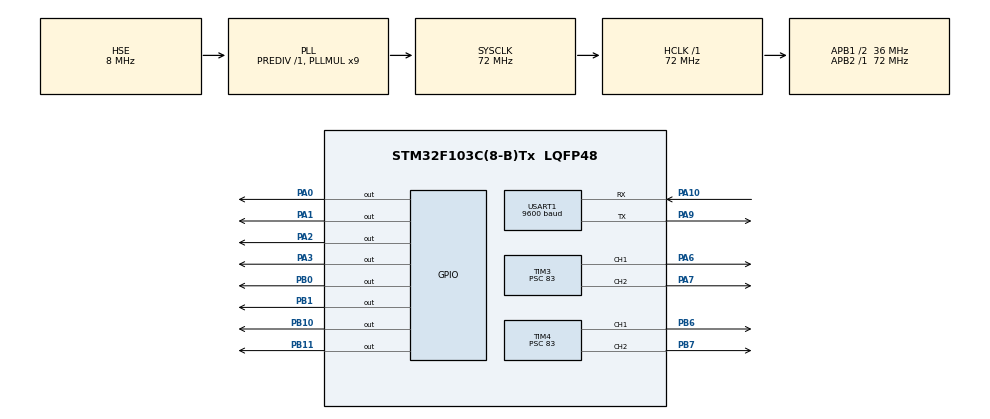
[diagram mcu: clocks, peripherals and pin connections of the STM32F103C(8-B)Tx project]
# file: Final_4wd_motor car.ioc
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Mcu.Family=STM32F1
Mcu.Name=STM32F103C(8-B)Tx
Mcu.Package=LQFP48
NVIC.PriorityGroup=NVIC_PRIORITYGROUP_4
NVIC.USART1_IRQn=true\:0\:0\:false\:false\:true\:true\:true\:true
PA0-WKUP.Signal=GPIO_Output
PA1.Signal=GPIO_Output
PA10.Mode=Asynchronous
PA10.Signal=USART1_RX
PA13.Mode=Serial_Wire
PA13.Signal=SYS_JTMS-SWDIO
PA14.Mode=Serial_Wire
PA14.Signal=SYS_JTCK-SWCLK
PA2.Signal=GPIO_Output
PA3.Signal=GPIO_Output
PA6.Signal=S_TIM3_CH1
PA7.Signal=S_TIM3_CH2
PA9.Mode=Asynchronous
PA9.Signal=USART1_TX
PB0.Signal=GPIO_Output
PB1.Signal=GPIO_Output
PB10.Signal=GPIO_Output
PB11.Signal=GPIO_Output
PB6.Signal=S_TIM4_CH1
PB7.Signal=S_TIM4_CH2
PD0-OSC_IN.Mode=HSE-External-Oscillator
PD0-OSC_IN.Signal=RCC_OSC_IN
PD1-OSC_OUT.Mode=HSE-External-Oscillator
PD1-OSC_OUT.Signal=RCC_OSC_OUT
ProjectManager.HeapSize=0x200
ProjectManager.StackSize=0x400
ProjectManager.TargetToolchain=STM32CubeIDE
RCC.AHBFreq_Value=72000000
RCC.APB1CLKDivider=RCC_HCLK_DIV2
RCC.APB1Freq_Value=36000000
RCC.APB1TimFreq_Value=72000000
RCC.APB2Freq_Value=72000000
RCC.APB2TimFreq_Value=72000000
RCC.HCLKFreq_Value=72000000
RCC.PLLMUL=RCC_PLL_MUL9
RCC.PLLSourceVirtual=RCC_PLLSOURCE_HSE
RCC.SYSCLKFreq_VALUE=72000000
RCC.SYSCLKSource=RCC_SYSCLKSOURCE_PLLCLK
RCC.USBFreq_Value=72000000
SH.S_TIM3_CH1.0=TIM3_CH1,PWM Generation1 CH1
SH.S_TIM3_CH2.0=TIM3_CH2,PWM Generation2 CH2
SH.S_TIM4_CH1.0=TIM4_CH1,PWM Generation1 CH1
SH.S_TIM4_CH2.0=TIM4_CH2,PWM Generation2 CH2
TIM3.AutoReloadPreload=TIM_AUTORELOAD_PRELOAD_ENABLE
TIM3.Channel-PWM\ Generation1\ CH1=TIM_CHANNEL_1
TIM3.Channel-PWM\ Generation2\ CH2=TIM_CHANNEL_2
TIM3.Period=999
TIM3.Prescaler=83
TIM3.Pulse-PWM\ Generation1\ CH1=600
TIM3.Pulse-PWM\ Generation2\ CH2=600
TIM4.AutoReloadPreload=TIM_AUTORELOAD_PRELOAD_ENABLE
TIM4.Channel-PWM\ Generation1\ CH1=TIM_CHANNEL_1
TIM4.Channel-PWM\ Generation2\ CH2=TIM_CHANNEL_2
TIM4.Period=999
TIM4.Prescaler=83
TIM4.Pulse-PWM\ Generation1\ CH1=600
TIM4.Pulse-PWM\ Generation2\ CH2=600
USART1.BaudRate=9600
USART1.VirtualMode=VM_ASYNC
board=custom

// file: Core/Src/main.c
/* USER CODE BEGIN Header */
/**
  ******************************************************************************
  * @file           : main.c
  * @brief          : Main program body
  ******************************************************************************
  * @attention
  *
  * Copyright (c) 2025 STMicroelectronics.
  * All rights reserved.
  *
  * This software is licensed under terms that can be found in the LICENSE file
  * in the root directory of this software component.
  * If no LICENSE file comes with this software, it is provided AS-IS.
  *
  ******************************************************************************
  */

/* USER CODE END Header */
#include "main.h"

/* USER CODE BEGIN PTD */
typedef enum {
    MOTOR_STOPPED,
    MOTOR_FORWARD,
    MOTOR_BACKWARD,
    MOTOR_TURNING_LEFT,
    MOTOR_TURNING_RIGHT
} MotorState_t;

/* USER CODE END PTD */

TIM_HandleTypeDef htim3;
TIM_HandleTypeDef htim4;

UART_HandleTypeDef huart1;

/* USER CODE BEGIN PV */
// Declare this at the top of main.c
uint8_t received_char;
uint16_t pwm_value = 600; // 60% duty cycle
MotorState_t current_motor_state = MOTOR_STOPPED;
/* USER CODE END PV */
typedef struct {
    GPIO_TypeDef* port;
    uint16_t in1_pin;
    uint16_t in2_pin;
} MotorConfig_t;

const MotorConfig_t motor_config[4] = {
    {GPIOA, GPIO_PIN_0, GPIO_PIN_1},   // M1 - Left
    {GPIOA, GPIO_PIN_2, GPIO_PIN_3},   // M2 - Left
    {GPIOB, GPIO_PIN_0, GPIO_PIN_1},   // M3 - Right
    {GPIOB, GPIO_PIN_10, GPIO_PIN_11}  // M4 - Right
};
void SystemClock_Config(void);
static void MX_GPIO_Init(void);
static void MX_TIM3_Init(void);
static void MX_TIM4_Init(void);
static void MX_USART1_UART_Init(void);

/* USER CODE BEGIN 0 */
void Set_Motor_Speeds(uint16_t m1, uint16_t m2, uint16_t m3, uint16_t m4) {
    __HAL_TIM_SET_COMPARE(&htim3, TIM_CHANNEL_1, m1); // Motor 1
    __HAL_TIM_SET_COMPARE(&htim3, TIM_CHANNEL_2, m2); // Motor 2
    __HAL_TIM_SET_COMPARE(&htim4, TIM_CHANNEL_1, m3); // Motor 3
    __HAL_TIM_SET_COMPARE(&htim4, TIM_CHANNEL_2, m4); // Motor 4
}
void Set_Motor_Direction(uint8_t motor_index, uint8_t forward) {
    if (motor_index >= 4) return;

    if (forward) {
        HAL_GPIO_WritePin(motor_config[motor_index].port, motor_config[motor_index].in1_pin, GPIO_PIN_SET);
        HAL_GPIO_WritePin(motor_config[motor_index].port, motor_config[motor_index].in2_pin, GPIO_PIN_RESET);
    } else {
        HAL_GPIO_WritePin(motor_config[motor_index].port, motor_config[motor_index].in1_pin, GPIO_PIN_RESET);
        HAL_GPIO_WritePin(motor_config[motor_index].port, motor_config[motor_index].in2_pin, GPIO_PIN_SET);
    }
}
void Stop_Motor(uint8_t motor_index) {
    if (motor_index >= 4) return;

    HAL_GPIO_WritePin(motor_config[motor_index].port, motor_config[motor_index].in1_pin, GPIO_PIN_RESET);
    HAL_GPIO_WritePin(motor_config[motor_index].port, motor_config[motor_index].in2_pin, GPIO_PIN_RESET);
}

void Stop_Motors() {
    Set_Motor_Speeds(0, 0, 0, 0); // Set all PWM to 0

    // Stop all motors using helper function
    for (int i = 0; i < 4; i++) {
        Stop_Motor(i);
    }

    current_motor_state = MOTOR_STOPPED;
}

void Move_Forward() {
    // Stop motors first if changing from backward
    if (current_motor_state == MOTOR_BACKWARD) {
        Stop_Motors();
        HAL_Delay(100); // Small delay to let motors stop completely
    }

    Set_Motor_Speeds(600, 600, 600, 600);

    // Set all motors forward
    for (int i = 0; i < 4; i++) {
        Set_Motor_Direction(i, 1); // 1 = forward
    }

    current_motor_state = MOTOR_FORWARD;
}

void Move_Backward() {
    // Stop motors first if changing from forward
    if (current_motor_state == MOTOR_FORWARD) {
        Stop_Motors();
        HAL_Delay(100); // Small delay to let motors stop completely
    }

    Set_Motor_Speeds(600, 600, 600, 600);

    // Set all motors backward
    for (int i = 0; i < 4; i++) {
        Set_Motor_Direction(i, 0); // 0 = backward
    }

    current_motor_state = MOTOR_BACKWARD;
}
void Turn_Left() {
    switch (current_motor_state) {
        case MOTOR_FORWARD:
        case MOTOR_TURNING_RIGHT:
            // Forward left turn - stop left motors, right motors continue forward
            Set_Motor_Speeds(0, 0, 700, 700); // Left motors stop, right motors fast
            Stop_Motor(0); // M1 off
            Stop_Motor(1); // M2 off
            Set_Motor_Direction(2, 1); // M3 forward
            Set_Motor_Direction(3, 1); // M4 forward
            break;

        case MOTOR_BACKWARD:
            // Backward left turn - stop left motors, right motors continue backward
            Set_Motor_Speeds(0, 0, 700, 700); // Left motors stop, right motors fast
            Stop_Motor(0); // M1 off
            Stop_Motor(1); // M2 off
            Set_Motor_Direction(2, 0); // M3 backward
            Set_Motor_Direction(3, 0); // M4 backward
            break;

        case MOTOR_TURNING_LEFT:
            // Already turning left, maintain current behavior
            return;

        default: // MOTOR_STOPPED
            // Stationary left turn - left motors backward, right motors forward
            Set_Motor_Speeds(600, 600, 600, 600);
            Set_Motor_Direction(0, 0); // M1 backward
            Set_Motor_Direction(1, 0); // M2 backward
            Set_Motor_Direction(2, 1); // M3 forward
            Set_Motor_Direction(3, 1); // M4 forward
            break;
    }

    current_motor_state = MOTOR_TURNING_LEFT;
}

void Turn_Right() {
    switch (current_motor_state) {
        case MOTOR_FORWARD:
        case MOTOR_TURNING_LEFT:
            // Forward right turn - stop right motors, left motors continue forward
            Set_Motor_Speeds(700, 700, 0, 0); // Left motors fast, right motors stop
            Set_Motor_Direction(0, 1); // M1 forward
            Set_Motor_Direction(1, 1); // M2 forward
            Stop_Motor(2); // M3 off
            Stop_Motor(3); // M4 off
            break;

        case MOTOR_BACKWARD:
            // Backward right turn - stop right motors, left motors continue backward
            Set_Motor_Speeds(700, 700, 0, 0); // Left motors fast, right motors stop
            Set_Motor_Direction(0, 0); // M1 backward
            Set_Motor_Direction(1, 0); // M2 backward
            Stop_Motor(2); // M3 off
            Stop_Motor(3); // M4 off
            break;

        case MOTOR_TURNING_RIGHT:
            // Already turning right, maintain current behavior
            return;

        default: // MOTOR_STOPPED
            // Stationary right turn - right motors backward, left motors forward
            Set_Motor_Speeds(600, 600, 600, 600);
            Set_Motor_Direction(0, 1); // M1 forward
            Set_Motor_Direction(1, 1); // M2 forward
            Set_Motor_Direction(2, 0); // M3 backward
            Set_Motor_Direction(3, 0); // M4 backward
            break;
    }

    current_motor_state = MOTOR_TURNING_RIGHT;
}
// You can define Move_Backward(), Turn_Left(), Turn_Right() in similar way

/* USER CODE END 0 */

int main(void) {
  HAL_Init();
  SystemClock_Config();
  MX_GPIO_Init();
  MX_USART1_UART_Init();
  MX_TIM3_Init();
  MX_TIM4_Init();

  // Start PWM channels
  HAL_TIM_PWM_Start(&htim3, TIM_CHANNEL_1);
  HAL_TIM_PWM_Start(&htim3, TIM_CHANNEL_2);
  HAL_TIM_PWM_Start(&htim4, TIM_CHANNEL_1);
  HAL_TIM_PWM_Start(&htim4, TIM_CHANNEL_2);

 // Start UART receive interrupt
  // In main(), after starting PWM timers:
  Stop_Motors();  // Initialize all motors to stopped state
  HAL_UART_Receive_IT(&huart1, &received_char, 1);  // Start UART interrupt

  while (1) {
    // Main loop does nothing; all control via UART interrupt
  }
}

void SystemClock_Config(void)
{
  RCC_OscInitTypeDef RCC_OscInitStruct = {0};
  RCC_ClkInitTypeDef RCC_ClkInitStruct = {0};

  /** Initializes the RCC Oscillators according to the specified parameters
  * in the RCC_OscInitTypeDef structure.
  */
  RCC_OscInitStruct.OscillatorType = RCC_OSCILLATORTYPE_HSE;
  RCC_OscInitStruct.HSEState = RCC_HSE_ON;
  RCC_OscInitStruct.HSEPredivValue = RCC_HSE_PREDIV_DIV1;
  RCC_OscInitStruct.HSIState = RCC_HSI_ON;
  RCC_OscInitStruct.PLL.PLLState = RCC_PLL_ON;
  RCC_OscInitStruct.PLL.PLLSource = RCC_PLLSOURCE_HSE;
  RCC_OscInitStruct.PLL.PLLMUL = RCC_PLL_MUL9;
  if (HAL_RCC_OscConfig(&RCC_OscInitStruct) != HAL_OK)
  {
    Error_Handler();
  }

  /** Initializes the CPU, AHB and APB buses clocks
  */
  RCC_ClkInitStruct.ClockType = RCC_CLOCKTYPE_HCLK|RCC_CLOCKTYPE_SYSCLK
                              |RCC_CLOCKTYPE_PCLK1|RCC_CLOCKTYPE_PCLK2;
  RCC_ClkInitStruct.SYSCLKSource = RCC_SYSCLKSOURCE_PLLCLK;
  RCC_ClkInitStruct.AHBCLKDivider = RCC_SYSCLK_DIV1;
  RCC_ClkInitStruct.APB1CLKDivider = RCC_HCLK_DIV2;
  RCC_ClkInitStruct.APB2CLKDivider = RCC_HCLK_DIV1;

  if (HAL_RCC_ClockConfig(&RCC_ClkInitStruct, FLASH_LATENCY_2) != HAL_OK)
  {
    Error_Handler();
  }
}

static void MX_TIM3_Init(void)
{

  TIM_MasterConfigTypeDef sMasterConfig = {0};
  TIM_OC_InitTypeDef sConfigOC = {0};

  htim3.Instance = TIM3;
  htim3.Init.Prescaler = 83;
  htim3.Init.CounterMode = TIM_COUNTERMODE_UP;
  htim3.Init.Period = 999;
  htim3.Init.ClockDivision = TIM_CLOCKDIVISION_DIV1;
  htim3.Init.AutoReloadPreload = TIM_AUTORELOAD_PRELOAD_ENABLE;
  if (HAL_TIM_PWM_Init(&htim3) != HAL_OK)
  {
    Error_Handler();
  }
  sMasterConfig.MasterOutputTrigger = TIM_TRGO_RESET;
  sMasterConfig.MasterSlaveMode = TIM_MASTERSLAVEMODE_DISABLE;
  if (HAL_TIMEx_MasterConfigSynchronization(&htim3, &sMasterConfig) != HAL_OK)
  {
    Error_Handler();
  }
  sConfigOC.OCMode = TIM_OCMODE_PWM1;
  sConfigOC.Pulse = 600;
  sConfigOC.OCPolarity = TIM_OCPOLARITY_HIGH;
  sConfigOC.OCFastMode = TIM_OCFAST_DISABLE;
  if (HAL_TIM_PWM_ConfigChannel(&htim3, &sConfigOC, TIM_CHANNEL_1) != HAL_OK)
  {
    Error_Handler();
  }
  if (HAL_TIM_PWM_ConfigChannel(&htim3, &sConfigOC, TIM_CHANNEL_2) != HAL_OK)
  {
    Error_Handler();
  }
  HAL_TIM_MspPostInit(&htim3);

}

static void MX_TIM4_Init(void)
{

  TIM_MasterConfigTypeDef sMasterConfig = {0};
  TIM_OC_InitTypeDef sConfigOC = {0};

  htim4.Instance = TIM4;
  htim4.Init.Prescaler = 83;
  htim4.Init.CounterMode = TIM_COUNTERMODE_UP;
  htim4.Init.Period = 999;
  htim4.Init.ClockDivision = TIM_CLOCKDIVISION_DIV1;
  htim4.Init.AutoReloadPreload = TIM_AUTORELOAD_PRELOAD_ENABLE;
  if (HAL_TIM_PWM_Init(&htim4) != HAL_OK)
  {
    Error_Handler();
  }
  sMasterConfig.MasterOutputTrigger = TIM_TRGO_RESET;
  sMasterConfig.MasterSlaveMode = TIM_MASTERSLAVEMODE_DISABLE;
  if (HAL_TIMEx_MasterConfigSynchronization(&htim4, &sMasterConfig) != HAL_OK)
  {
    Error_Handler();
  }
  sConfigOC.OCMode = TIM_OCMODE_PWM1;
  sConfigOC.Pulse = 600;
  sConfigOC.OCPolarity = TIM_OCPOLARITY_HIGH;
  sConfigOC.OCFastMode = TIM_OCFAST_DISABLE;
  if (HAL_TIM_PWM_ConfigChannel(&htim4, &sConfigOC, TIM_CHANNEL_1) != HAL_OK)
  {
    Error_Handler();
  }
  if (HAL_TIM_PWM_ConfigChannel(&htim4, &sConfigOC, TIM_CHANNEL_2) != HAL_OK)
  {
    Error_Handler();
  }
  HAL_TIM_MspPostInit(&htim4);

}

static void MX_USART1_UART_Init(void)
{

  huart1.Instance = USART1;
  huart1.Init.BaudRate = 9600;
  huart1.Init.WordLength = UART_WORDLENGTH_8B;
  huart1.Init.StopBits = UART_STOPBITS_1;
  huart1.Init.Parity = UART_PARITY_NONE;
  huart1.Init.Mode = UART_MODE_TX_RX;
  huart1.Init.HwFlowCtl = UART_HWCONTROL_NONE;
  huart1.Init.OverSampling = UART_OVERSAMPLING_16;
  if (HAL_UART_Init(&huart1) != HAL_OK)
  {
    Error_Handler();
  }

}

static void MX_GPIO_Init(void)
{
  GPIO_InitTypeDef GPIO_InitStruct = {0};

  /* GPIO Ports Clock Enable */
  __HAL_RCC_GPIOD_CLK_ENABLE();
  __HAL_RCC_GPIOA_CLK_ENABLE();
  __HAL_RCC_GPIOB_CLK_ENABLE();

  /*Configure GPIO pin Output Level */
  HAL_GPIO_WritePin(GPIOA, GPIO_PIN_0|GPIO_PIN_1|GPIO_PIN_2|GPIO_PIN_3, GPIO_PIN_RESET);

  /*Configure GPIO pin Output Level */
  HAL_GPIO_WritePin(GPIOB, GPIO_PIN_0|GPIO_PIN_1|GPIO_PIN_10|GPIO_PIN_11, GPIO_PIN_RESET);

  /*Configure GPIO pins : PA0 PA1 PA2 PA3 */
  GPIO_InitStruct.Pin = GPIO_PIN_0|GPIO_PIN_1|GPIO_PIN_2|GPIO_PIN_3;
  GPIO_InitStruct.Mode = GPIO_MODE_OUTPUT_PP;
  GPIO_InitStruct.Pull = GPIO_NOPULL;
  GPIO_InitStruct.Speed = GPIO_SPEED_FREQ_LOW;
  HAL_GPIO_Init(GPIOA, &GPIO_InitStruct);

  /*Configure GPIO pins : PB0 PB1 PB10 PB11 */
  GPIO_InitStruct.Pin = GPIO_PIN_0|GPIO_PIN_1|GPIO_PIN_10|GPIO_PIN_11;
  GPIO_InitStruct.Mode = GPIO_MODE_OUTPUT_PP;
  GPIO_InitStruct.Pull = GPIO_NOPULL;
  GPIO_InitStruct.Speed = GPIO_SPEED_FREQ_LOW;
  HAL_GPIO_Init(GPIOB, &GPIO_InitStruct);

}

/* USER CODE BEGIN 4 */
void HAL_UART_RxCpltCallback(UART_HandleTypeDef *huart) {
    if (huart->Instance == USART1) {
        switch (received_char) {
            case 'F': // Forward
            case 'f':
                Move_Forward();
                break;

            case 'B': // Backward
            case 'b':
                Move_Backward();
                break;

            case 'L': // Turn Left
            case 'l':
                Turn_Left();
                break;

            case 'R': // Turn Right
            case 'r':
                Turn_Right();
                break;

            case 'S': // Stop
            case 's':
                Stop_Motors();
                break;

            case '0': // Emergency stop
                Stop_Motors();
                break;

            default:
                // Unknown command - could add error feedback here
                break;
        }

        // Re-enable UART receive interrupt for next command
        HAL_UART_Receive_IT(&huart1, &received_char, 1);
    }
}

/* USER CODE END 4 */

void Error_Handler(void)
{
  __disable_irq();
  while (1)
  {
  }
}
